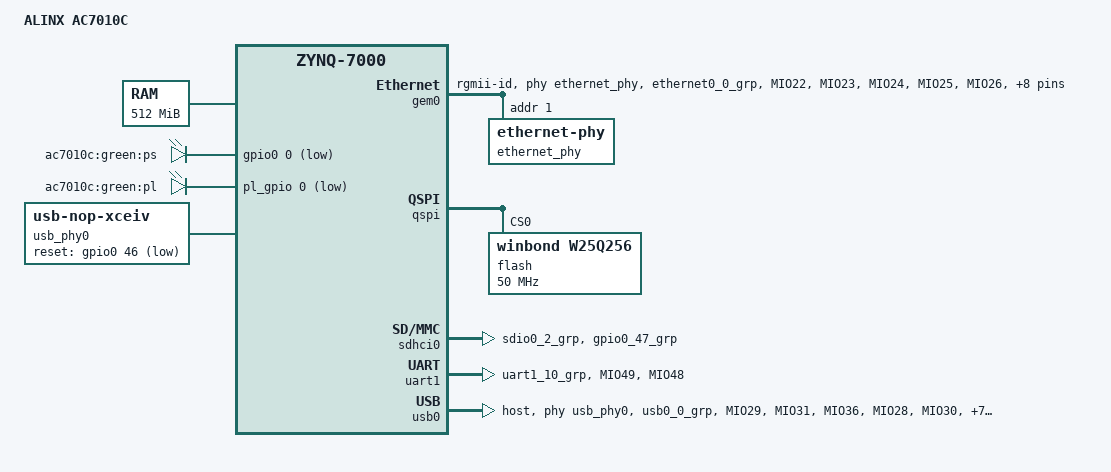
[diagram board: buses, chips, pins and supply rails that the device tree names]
// SPDX-License-Identifier: GPL-2.0
/* ALINX AC7010C SoM: XC7Z010-1CLG400C */
/dts-v1/;
#include "zynq-7000.dtsi"
#include <dt-bindings/gpio/gpio.h>

/ {
	model = "ALINX AC7010C";
	compatible = "alinx,ac7010c", "xlnx,zynq-7000";

	aliases {
		ethernet0 = &gem0;
		serial0 = &uart1;
		spi0 = &qspi;
		mmc0 = &sdhci0;
	};

	memory@0 {
		device_type = "memory";
		reg = <0x0 0x20000000>;
	};

	chosen {
		stdout-path = "serial0:115200n8";
	};

	leds {
		compatible = "gpio-leds";
		pinctrl-names = "default";
		pinctrl-0 = <&pinctrl_ps_led_default>;

		ps-led {
			label = "ac7010c:green:ps";
			gpios = <&gpio0 0 GPIO_ACTIVE_LOW>;
			linux,default-trigger = "heartbeat";
		};

		pl-led {
			label = "ac7010c:green:pl";
			gpios = <&pl_gpio 0 GPIO_ACTIVE_LOW>;
		};
	};

	usb_phy0: phy0 {
		compatible = "usb-nop-xceiv";
		#phy-cells = <0>;
		pinctrl-names = "default";
		pinctrl-0 = <&pinctrl_usb_reset_default>;
		reset-gpios = <&gpio0 46 GPIO_ACTIVE_LOW>;
	};

	amba_pl: amba-pl {
		compatible = "simple-bus";
		#address-cells = <1>;
		#size-cells = <1>;
		ranges;

		pl_gpio: gpio@41200000 {
			compatible = "xlnx,xps-gpio-1.00.a";
			reg = <0x41200000 0x10000>;
			clocks = <&clkc 15>;
			gpio-controller;
			#gpio-cells = <2>;
			xlnx,all-outputs = <1>;
			xlnx,gpio-width = <1>;
			xlnx,is-dual = <0>;
		};
	};
};

&clkc {
	ps-clk-frequency = <33333333>;
	fclk-enable = <1>;
};

&gem0 {
	status = "okay";
	phy-mode = "rgmii-id";
	phy-handle = <&ethernet_phy>;
	pinctrl-names = "default";
	pinctrl-0 = <&pinctrl_gem0_default>;

	ethernet_phy: ethernet-phy@1 {
		reg = <1>;
	};
};

&pinctrl0 {
	pinctrl_ps_led_default: ps-led-default {
		mux { function = "gpio0"; groups = "gpio0_0_grp"; };
		conf {
			groups = "gpio0_0_grp";
			slew-rate = <0>;
			power-source = <1>;
			bias-disable;
		};
	};

	pinctrl_usb_reset_default: usb-reset-default {
		mux { function = "gpio0"; groups = "gpio0_46_grp"; };
		conf {
			groups = "gpio0_46_grp";
			slew-rate = <0>;
			power-source = <1>;
			bias-disable;
		};
	};

	pinctrl_gem0_default: gem0-default {
		mux { function = "ethernet0"; groups = "ethernet0_0_grp"; };
		conf {
			groups = "ethernet0_0_grp";
			slew-rate = <0>;
			power-source = <4>;
		};
		conf-rx {
			pins = "MIO22", "MIO23", "MIO24", "MIO25", "MIO26", "MIO27";
			bias-high-impedance;
			low-power-disable;
		};
		conf-tx {
			pins = "MIO16", "MIO17", "MIO18", "MIO19", "MIO20", "MIO21";
			bias-disable;
			low-power-enable;
		};
		mux-mdio { function = "mdio0"; groups = "mdio0_0_grp"; };
		conf-mdio {
			groups = "mdio0_0_grp";
			slew-rate = <0>;
			power-source = <1>;
			bias-disable;
		};
	};

	pinctrl_sdhci0_default: sdhci0-default {
		mux { function = "sdio0"; groups = "sdio0_2_grp"; };
		conf {
			groups = "sdio0_2_grp";
			slew-rate = <0>;
			power-source = <1>;
			bias-disable;
		};
		mux-cd { function = "sdio0_cd"; groups = "gpio0_47_grp"; };
		conf-cd {
			groups = "gpio0_47_grp";
			bias-pull-up;
			slew-rate = <0>;
			power-source = <1>;
		};
	};

	pinctrl_uart1_default: uart1-default {
		mux { function = "uart1"; groups = "uart1_10_grp"; };
		conf {
			groups = "uart1_10_grp";
			slew-rate = <0>;
			power-source = <1>;
		};
		conf-rx { pins = "MIO49"; bias-high-impedance; };
		conf-tx { pins = "MIO48"; bias-disable; };
	};

	pinctrl_usb0_default: usb0-default {
		mux { function = "usb0"; groups = "usb0_0_grp"; };
		conf {
			groups = "usb0_0_grp";
			slew-rate = <0>;
			power-source = <1>;
		};
		conf-rx {
			pins = "MIO29", "MIO31", "MIO36";
			bias-high-impedance;
		};
		conf-tx {
			pins = "MIO28", "MIO30", "MIO32", "MIO33", "MIO34",
			       "MIO35", "MIO37", "MIO38", "MIO39";
			bias-disable;
		};
	};
};

&qspi {
	status = "okay";
	num-cs = <1>;
	flash@0 {
		compatible = "winbond,w25q256", "jedec,spi-nor";
		reg = <0>;
		spi-tx-bus-width = <1>;
		spi-rx-bus-width = <4>;
		spi-max-frequency = <50000000>;
	};
};

&sdhci0 {
	status = "okay";
	pinctrl-names = "default";
	pinctrl-0 = <&pinctrl_sdhci0_default>;
};

&uart1 {
	status = "okay";
	pinctrl-names = "default";
	pinctrl-0 = <&pinctrl_uart1_default>;
};

&usb0 {
	status = "okay";
	dr_mode = "host";
	usb-phy = <&usb_phy0>;
	pinctrl-names = "default";
	pinctrl-0 = <&pinctrl_usb0_default>;
};
